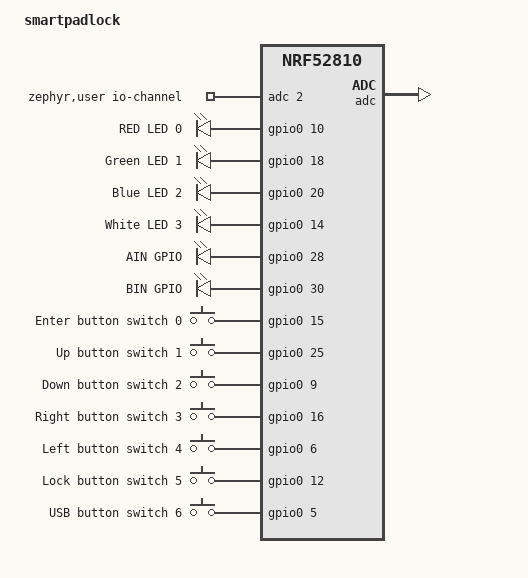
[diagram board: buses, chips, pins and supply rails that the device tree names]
// Copyright (c) 2023 Nordic Semiconductor ASA
// SPDX-License-Identifier: Apache-2.0

/dts-v1/;
#include <nordic/nrf52810_qfaa.dtsi>

/ {
	model = "smartpadlock";
	compatible = "smartpadlock";

	chosen {
		zephyr,sram = &sram0;
		zephyr,flash = &flash0;
		zephyr,code-partition = &slot0_partition;
	};

	zephyr,user {
		io-channels = <&adc 2>;
	 };

	leds {
        compatible = "gpio-leds";
        red_led: red_led_0 {
            gpios = <&gpio0 10 GPIO_ACTIVE_HIGH>;
            label = "RED LED 0";
        };
        green_led: green_led_1 {
            gpios = <&gpio0 18 GPIO_ACTIVE_HIGH>;
            label = "Green LED 1";
        };
        blue_led: blue_led_2 {
            gpios = <&gpio0 20 GPIO_ACTIVE_HIGH>;
            label = "Blue LED 2";
        };
        white_led: white_led_3 {
            gpios = <&gpio0 14 GPIO_ACTIVE_HIGH>;
            label = "White LED 3";
        };
        ain_gpio: ain_gpio {
            gpios = <&gpio0 28 GPIO_ACTIVE_HIGH>;
            label = "AIN GPIO";
        };
        bin_gpio: bin_gpio {
            gpios = <&gpio0 30 GPIO_ACTIVE_HIGH>;
            label = " BIN GPIO";
        };
    };

    buttons {
        compatible = "gpio-keys";
        enter_bt: enter_button_0 {
            label = "Enter button switch 0";
            gpios = <&gpio0 15 (GPIO_PULL_DOWN | GPIO_ACTIVE_HIGH)>;
        };
        up_bt: up_button_1 {
            label = "Up button switch 1";
            gpios = <&gpio0 25 (GPIO_PULL_DOWN | GPIO_ACTIVE_HIGH)>;
        };
        down_bt: down_button_2 {
            label = "Down button switch 2";
            gpios = <&gpio0 9 (GPIO_PULL_DOWN | GPIO_ACTIVE_HIGH)>;
        };
        right_bt: right_button_3 {
            label = "Right button switch 3";
            gpios = <&gpio0 16 (GPIO_PULL_DOWN | GPIO_ACTIVE_HIGH)>;
        };
        left_bt: left_button_4 {
            label = "Left button switch 4";
            gpios = <&gpio0 6 (GPIO_PULL_DOWN | GPIO_ACTIVE_HIGH)>;
        };
        lock_bt: lock_button_5 {
            label = "Lock button switch 5";
            gpios = <&gpio0 12 (GPIO_PULL_DOWN | GPIO_ACTIVE_HIGH)>;
        };
        usb_bt: usb_button_6 {
            label = "USB button switch 6";
            gpios = <&gpio0 5 (GPIO_ACTIVE_HIGH)>;
        };
    };

	aliases {
		adcctrl = &adc;
	 };
};

&adc {
	status = "okay";
};

&gpiote {
	status = "okay";
};

&gpio0 {
	status = "okay";
};

&flash0 {
	partitions {
		compatible = "fixed-partitions";
		#address-cells = <1>;
		#size-cells = <1>;

		boot_partition: partition@0 {
			label = "mcuboot";
			reg = <0x0 0xc000>;
		};
		slot0_partition: partition@c000 {
			label = "image-0";
			reg = <0xc000 0xa000>;
		};
		slot1_partition: partition@16000 {
			label = "image-1";
			reg = <0x16000 0xa000>;
		};
		scratch_partition: partition@20000 {
			label = "image-scratch";
			reg = <0x20000 0xa000>;
		};
		storage_partition: partition@2a000 {
			label = "storage";
			reg = <0x2a000 0x6000>;
		};
	};
};

